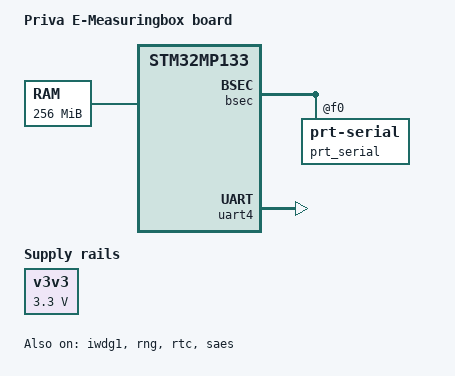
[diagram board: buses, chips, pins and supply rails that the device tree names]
// SPDX-License-Identifier: (GPL-2.0+ OR BSD-3-Clause)
/*
 * Copyright (C) Protonic Hoorn B.V. 2023 - All Rights Reserved
 * Author: Roan van Dijk <roan@protonic.nl.com> for Protonic Hoorn.
 */

/dts-v1/;

#include <dt-bindings/clock/stm32mp13-clksrc.h>
#include <dt-bindings/gpio/gpio.h>
#include <dt-bindings/gpio/stm32mp_gpio.h>
#include <dt-bindings/regulator/st,stm32mp13-regulator.h>
#include "stm32mp133.dtsi"
#include "stm32mp13xc.dtsi"
#include "stm32mp13-pinctrl.dtsi"

/ {
        model = "Priva E-Measuringbox board";
        compatible = "pri,prihmb", "st,stm32mp133";

        aliases {
                serial0 = &uart4;
        };

        chosen {
                stdout-path = "serial0:115200n8";
        };

	memory@c0000000 {
		device_type = "memory";
		reg = <0xc0000000 0x10000000>;
	};

	v3v3: fixed-regulator-v3v3 {
		compatible = "regulator-fixed";
		regulator-name = "v3v3";
		regulator-min-microvolt = <3300000>;
		regulator-max-microvolt = <3300000>;
		regulator-always-on;
	};
};

&rcc {
	compatible = "st,stm32mp13-rcc", "syscon";

	st,clksrc = <
		CLK_MPU_PLL1P
		CLK_AXI_PLL2P
		CLK_MLAHBS_PLL3
		CLK_RTC_LSE
		CLK_MCO1_HSE
		CLK_MCO2_DISABLED
		CLK_CKPER_HSE
		CLK_ETH1_PLL4P
		CLK_ETH2_PLL4P
		CLK_SDMMC1_PLL4P
		CLK_SDMMC2_PLL4P
		CLK_STGEN_HSE
		CLK_USBPHY_HSE
		CLK_I2C4_HSI
		CLK_I2C5_HSI
		CLK_USBO_USBPHY
		CLK_ADC2_CKPER
		CLK_I2C12_HSI
		CLK_UART1_HSI
		CLK_UART2_HSI
		CLK_UART35_HSI
		CLK_UART4_HSI
		CLK_UART6_HSI
		CLK_UART78_HSI
		CLK_SAES_AXI
		CLK_DCMIPP_PLL2Q
		CLK_LPTIM3_PCLK3
		CLK_RNG1_PLL4R
	>;

	st,clkdiv = <
		DIV(DIV_MPU, 1)
		DIV(DIV_AXI, 0)
		DIV(DIV_MLAHB, 0)
		DIV(DIV_APB1, 1)
		DIV(DIV_APB2, 1)
		DIV(DIV_APB3, 1)
		DIV(DIV_APB4, 1)
		DIV(DIV_APB5, 2)
		DIV(DIV_APB6, 1)
		DIV(DIV_RTC, 23)
		DIV(DIV_MCO1, 0)
		DIV(DIV_MCO2, 0)
	>;

	st,pll_vco {
		pll1_vco_2000Mhz: pll1-vco-2000Mhz {
			src = <CLK_PLL12_HSE>;
			divmn = <1 82>;
			frac = <0xAAA>;
		};

		pll1_vco_1300Mhz: pll1-vco-1300Mhz {
			src = <CLK_PLL12_HSE>;
			divmn = <2 80>;
			frac = <0x800>;
		};

		pll2_vco_1066Mhz: pll2-vco-1066Mhz {
			src = <CLK_PLL12_HSE>;
			divmn = <2 65>;
			frac = <0x1400>;
		};

		pll3_vco_417Mhz: pll3-vco-417Mhz {
			src = <CLK_PLL3_HSE>;
			divmn = <1 33>;
			frac = <0x1a04>;
		};

		pll4_vco_600Mhz: pll4-vco-600Mhz {
			src = <CLK_PLL4_HSE>;
			divmn = <1 49>;
		};
	};

	/* VCO = 1300.0 MHz => P = 650 (CPU) */
	pll1: st,pll@0 {
		compatible = "st,stm32mp1-pll";
		reg = <0>;

		st,pll = <&pll1_cfg1>;

		pll1_cfg1: pll1_cfg1 {
			st,pll_vco = <&pll1_vco_1300Mhz>;
			st,pll_div_pqr = <0 1 1>;
		};

		pll1_cfg2: pll1_cfg2 {
			st,pll_vco = <&pll1_vco_2000Mhz>;
			st,pll_div_pqr = <0 1 1>;
		};
	};

	/* VCO = 1066.0 MHz => P = 266 (AXI), Q = 266, R = 533 (DDR) */
	pll2: st,pll@1 {
		compatible = "st,stm32mp1-pll";
		reg = <1>;

		st,pll = <&pll2_cfg1>;

		pll2_cfg1: pll2_cfg1 {
			st,pll_vco = <&pll2_vco_1066Mhz>;
			st,pll_div_pqr = <1 1 0>;
		};
	};

	/* VCO = 417.8 MHz => P = 209, Q = 24, R = 11 */
	pll3: st,pll@2 {
		compatible = "st,stm32mp1-pll";
		reg = <2>;

		st,pll = <&pll3_cfg1>;

		pll3_cfg1: pll3_cfg1 {
			st,pll_vco = <&pll3_vco_417Mhz>;
			st,pll_div_pqr = <1 16 36>;
		};
	};

	/* VCO = 600.0 MHz => P = 50, Q = 10, R = 50 */
	pll4: st,pll@3 {
		compatible = "st,stm32mp1-pll";
		reg = <3>;
		st,pll = <&pll4_cfg1>;

		pll4_cfg1: pll4_cfg1 {
			st,pll_vco = <&pll4_vco_600Mhz>;
			st,pll_div_pqr = <11 59 11>;
		};
	};

	st,clk_opp {
		/* CK_MPU clock config for MP13 */
		st,ck_mpu {

			cfg_1 {
				hz = <650000000>;
				st,clksrc = <CLK_MPU_PLL1P>;
				st,pll = <&pll1_cfg1>;
			};

			cfg_2 {
				hz = <1000000000>;
				st,clksrc = <CLK_MPU_PLL1P>;
				st,pll = <&pll1_cfg2>;
			};
		};
	};
};

&pwr_regulators {
	vdd-supply = <&v3v3>;
};

&iwdg1 {
	timeout-sec = <32>;
	status = "okay";
};

&rng {
	status = "okay";
	clock-error-detect;
};

&rtc {
	status = "okay";
};

&saes {
	status = "okay";
};

&bsec {
        prt_serial: prt-serial@f0 {
                reg = <0xf0 0x8>;       /* Word 60 - 61 */
                st,non-secure-otp;
        };
};

&sdmmc1_io {
	vddsd1-supply = <&v3v3>;
};

&sdmmc2_io {
	vddsd2-supply = <&v3v3>;
};

&uart4 {
        pinctrl-names = "default";
        pinctrl-0 = <&uart4_pins_a>;
        status = "okay";
};
